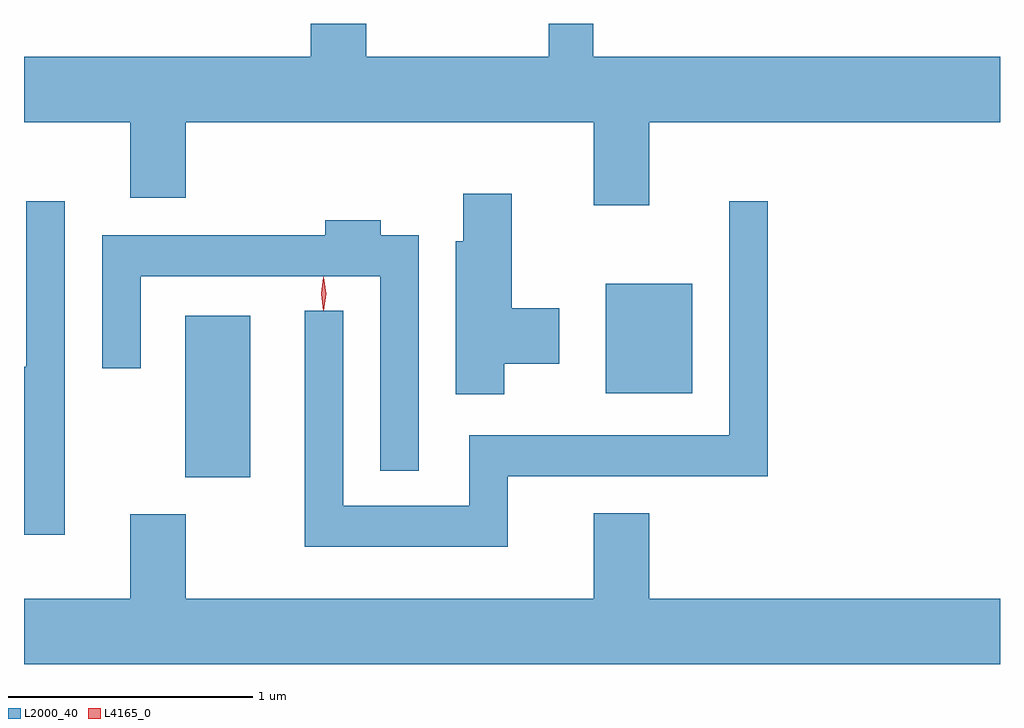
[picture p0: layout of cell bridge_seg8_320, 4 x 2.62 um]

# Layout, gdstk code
import gdstk
lib = gdstk.Library(unit=1e-6, precision=1e-09)
def R(c, l, rs):  # rectangles x0, y0, x1, y1
    for r in rs: c.add(gdstk.rectangle(r[:2], r[2:], *l))
def P(c, l, *ps):  # polygons
    for p in ps: c.add(gdstk.Polygon(p, *l))
L2000_40 = (2000, 40)
L4165_0 = (4165, 0)

bridge_seg8_320 = lib.new_cell('bridge_seg8_320')
R(bridge_seg8_320, L2000_40, [(936.026,1928.201,936.294,1928.864), (937.751,1928.546,938.104,1928.994)])
P(bridge_seg8_320, L2000_40, [(937.929,1929.656),(939.366,1929.656),(939.366,1929.924),(937.699,1929.924),(937.699,1930.059),(937.516,1930.059),(937.516,1929.924),(936.769,1929.924),(936.769,1930.059),(936.541,1930.059),(936.541,1929.924),(935.366,1929.924),(935.366,1929.656),(935.801,1929.656),(935.801,1929.346),(936.029,1929.346),(936.029,1929.656),(937.701,1929.656),(937.701,1929.316),(937.929,1929.316)],
  [(937.334,1928.666),(937.559,1928.666),(937.559,1928.894),(937.364,1928.894),(937.364,1929.364),(937.166,1929.364),(937.166,1929.169),(937.136,1929.169),(937.136,1928.541),(937.334,1928.541)],
  [(935.534,1929.333),(935.376,1929.333),(935.376,1928.654),(935.366,1928.654),(935.366,1927.966),(935.534,1927.966)],
  [(937.349,1928.206),(938.414,1928.206),(938.414,1929.333),(938.256,1929.333),(938.256,1928.374),(937.191,1928.374),(937.191,1928.084),(936.674,1928.084),(936.674,1928.883),(936.516,1928.883),(936.516,1927.916),(937.349,1927.916)],
  [(936.984,1929.194),(936.829,1929.194),(936.829,1929.254),(936.601,1929.254),(936.601,1929.194),(935.686,1929.194),(935.686,1928.648),(935.844,1928.648),(935.844,1929.026),(936.826,1929.026),(936.826,1928.228),(936.984,1928.228)],
  [(939.366,1927.704),(937.929,1927.704),(937.929,1928.054),(937.701,1928.054),(937.701,1927.704),(936.029,1927.704),(936.029,1928.049),(935.801,1928.049),(935.801,1927.704),(935.366,1927.704),(935.366,1927.436),(939.366,1927.436)])
P(bridge_seg8_320, L4165_0, [(936.594,1928.887),(936.594,1928.887),(936.584,1928.954),(936.594,1929.02),(936.594,1929.02),(936.594,1929.02),(936.604,1928.954),(936.595,1928.887)],
  [(936.593,1928.884),(936.584,1928.953),(936.593,1929.022),(936.594,1929.023),(936.594,1929.022),(936.604,1928.953),(936.594,1928.884),(936.594,1928.884)])

lib.write_gds('bridge_seg8_320.gds')
